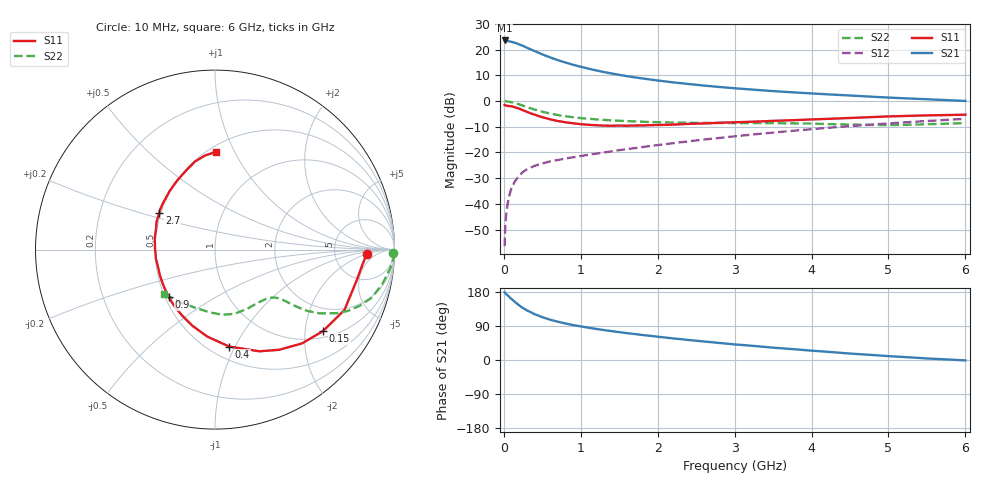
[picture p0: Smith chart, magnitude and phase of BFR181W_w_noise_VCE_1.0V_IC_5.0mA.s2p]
! Infineon Technologies  Discrete & RF Semiconductors
! BFR181W
! VCE =  1.0 V,  IC =  5.0 mA
! Common Emitter S-Parameters:  Jan 2017
# GHz  S  MA  R  50
!  f  S11  S21  S12  S22
! GHz  MAG  ANG  MAG  ANG  MAG  ANG  MAG  ANG
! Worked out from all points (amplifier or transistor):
!   77 points, 10 MHz to 6 GHz, reference 50 ohm
!   highest |S21| = 23.6 dB at 10 MHz (marker M1)
!   |S21| within 3 dB of that: start of sweep to 313.5 MHz
!   unconditionally stable (mu >= 1): 1.18 GHz to 3.518 GHz
!   at 130 MHz: K = 0.17, MSG = 27.4 dB, |S12| = -32.0 dB
!   at 2.2 GHz: K = 1.11, MAG = 9.8 dB, |S12| = -16.4 dB
!   at 6 GHz: K = 0.87, MSG = 3.5 dB, |S12| = -6.9 dB
!   lowest NFmin = 0.97 dB at 450 MHz
!   S11 on the Smith chart (normalised r, x): 10 MHz: 11, -2; 150 MHz: 1.18, -2.49; 400 MHz: 0.62, -0.95; 900 MHz: 0.52, -0.32; 2.7 GHz: 0.49, +0.23; 6 GHz: 0.55, +0.84
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0.01  0.8445 -1.8  15.14 179.1  0.0015 91.4  0.994 -1.2
0.02  0.8237 -6.4  14.96 176.2  0.0041 90.0  0.9976 -2.3
0.03  0.8173 -8.4  14.9 174.3  0.0061 86.0  0.9919 -3.6
0.05  0.8074 -12.4  14.82 170.5  0.0101 82.8  0.9818 -6.1
0.1  0.7958 -25.0  14.26 160.8  0.0202 77.9  0.9503 -12.0
0.15  0.7541 -37.0  13.56 152.2  0.0283 72.7  0.9113 -17.2
0.2  0.7127 -47.2  12.69 144.0  0.0355 67.1  0.8622 -21.4
0.25  0.6627 -57.4  11.84 136.9  0.042 63.0  0.8133 -24.9
0.3  0.6183 -66.4  10.94 130.9  0.0469 59.9  0.7648 -27.6
0.4  0.5456 -81.7  9.417 120.8  0.055 56.2  0.6844 -31.3
0.5  0.4863 -95.1  8.118 113.0  0.0611 53.8  0.6206 -33.5
0.6  0.4427 -106.5  7.113 106.5  0.067 52.7  0.5725 -34.6
0.7  0.4101 -116.7  6.283 101.1  0.0712 53.1  0.5354 -35.3
0.9  0.37 -134.1  5.092 92.2  0.0805 53.9  0.485 -36.2
1.1  0.3454 -148.7  4.279 85.3  0.0902 55.2  0.4533 -37.1
1.6  0.3317 -176.4  3.059 70.9  0.1164 58.3  0.4091 -41.3
2.1  0.3447 164.1  2.414 59.3  0.1453 59.5  0.3855 -48.3
2.7  0.3724 146.6  1.943 47.0  0.1848 59.4  0.3754 -59.1
3.1  0.3909 136.7  1.732 39.6  0.2136 58.3  0.373 -66.4
4.1  0.4448 116.6  1.382 23.2  0.292 53.1  0.361 -85.9
5.1  0.5079 101.3  1.153 9.1  0.3755 45.2  0.3429 -113.5
6  0.544 89.7  1.007 -1.1  0.4519 36.6  0.3747 -138.8
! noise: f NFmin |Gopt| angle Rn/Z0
0.45  0.97  0.33  16  0.23
0.9  1.03  0.3  30  0.23
1.9  1.44  0.15  80  0.2
2.4  1.59  0.13  94  0.22
